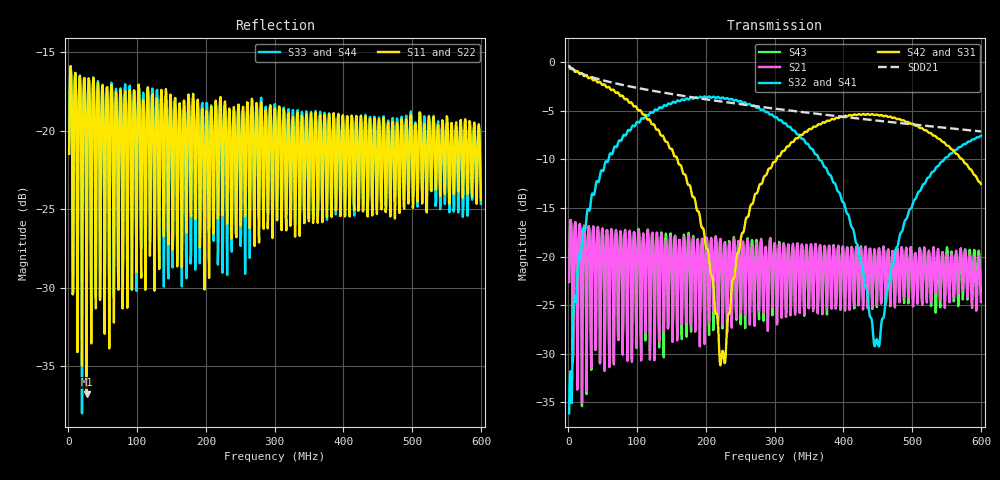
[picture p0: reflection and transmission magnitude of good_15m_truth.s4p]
! bare DUT without fixture (ground truth)
! synthetic pair, length 15.0 m
# Hz S RI R 50
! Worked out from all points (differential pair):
!   801 points, 1 MHz to 600 MHz, reference 50 ohm
!   strongest paths, dB at 1 MHz, 150.8 MHz, 300.5 MHz, 450.2 MHz, 600 MHz:
!     S42: -0.4, -9.0, -10.3, -5.4, -12.5
!     S31: -0.4, -9.0, -10.3, -5.4, -12.5
!     S32: -36.1, -4.2, -5.7, -28.9, -7.6
!     S41: -36.1, -4.2, -5.7, -28.9, -7.6
!     S21: -22.6, -24.0, -18.7, -20.9, -24.7
!     S43: -22.6, -23.1, -19.0, -21.0, -23.7
!   taken as a pair (ports 2,1 in; 4,3 out), SDD21 dB: -0.4, -3.3, -4.8, -6.0, -7.1
!   lowest |S11| = -36.8 dB at 26.46 MHz (marker M1), VSWR 1.03, Z = 51.4 + j0.347 ohm
!   |S11| at or under -10 dB: start of sweep to end of sweep
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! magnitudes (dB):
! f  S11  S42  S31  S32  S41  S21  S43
! 1 MHz  -21.5  -0.4  -0.4  -36.1  -36.1  -22.6  -22.6
! 26.46 MHz  -36.8  -1.4  -1.4  -15.8  -15.8  -33.8  -34.2
! 162 MHz  -18.2  -10.6  -10.6  -4.0  -4.0  -18.3  -18.4
! 223.4 MHz  -22.7  -29.9  -29.9  -3.6  -3.6  -23.5  -23.6
! 289.3 MHz  -23.4  -11.3  -11.3  -5.1  -5.1  -24.7  -24.2
! 448 MHz  -24.5  -5.4  -5.4  -28.5  -28.5  -24.4  -24.6
! 600 MHz  -24.4  -12.5  -12.5  -7.6  -7.6  -24.7  -23.7
